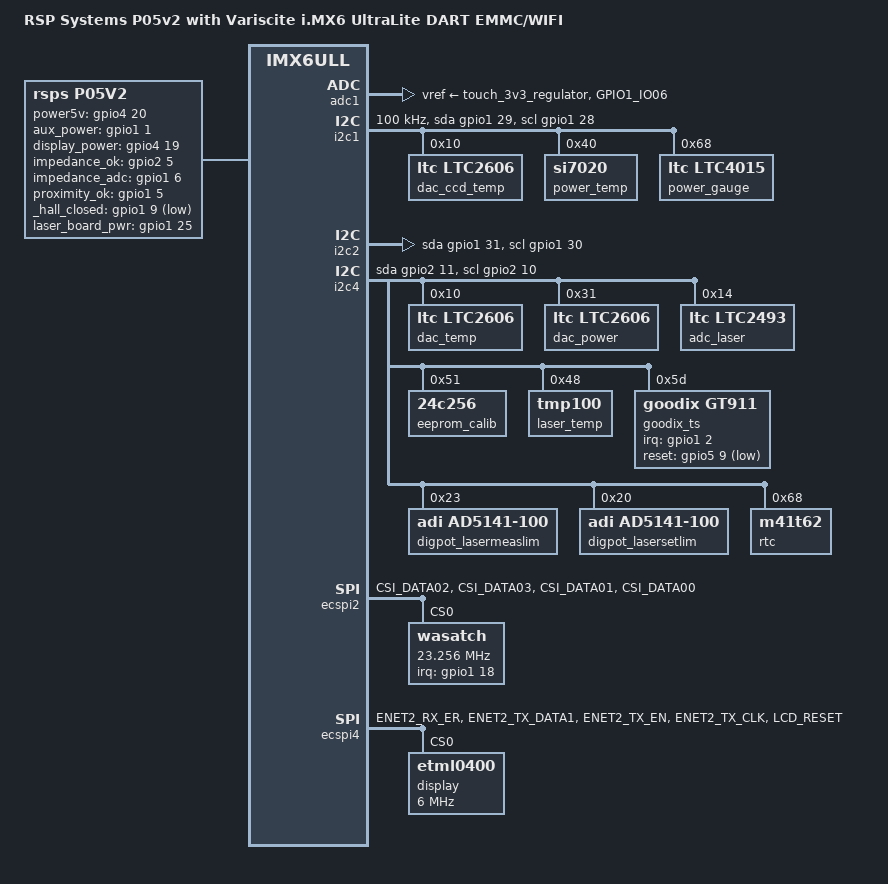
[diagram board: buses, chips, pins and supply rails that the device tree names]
/**
 * Device tree for RSP Systems Glucobeam hardware Prototype 0.5 ver. 2
 *
 */

/dts-v1/;

#include "imx6ull.dtsi"

#include "imx6ull-var-dart.dtsi"
#include "imx6ul-imx6ull-var-dart-emmc.dtsi"
#include "imx6ul-imx6ull-var-dart-wifi.dtsi"

#include "imx6ull-var-dart-6ulcustomboard.dtsi"


/ {
	model = "RSP Systems P05v2 with Variscite i.MX6 UltraLite DART EMMC/WIFI";

	p05v2 {
		compatible = "rsps,p05v2", "rsps,glucobeam", "fsl,imx6ull-var-dart", "fsl,imx6ull";
		pinctrl-names = "default";
		pinctrl-0 = <&pinctrl_imp &pinctrl_cap_sen &pinctrl_laser &pinctrl_spectrometer &pinctrl_power &pinctrl_audio>;

		status = "okay";

		power5v-gpios = <&gpio4 20 GPIO_ACTIVE_HIGH>;
		aux_power-gpios = <&gpio1 1 GPIO_ACTIVE_HIGH>;
		display_power-gpios = <&gpio4 19 GPIO_ACTIVE_HIGH>;

		impedance_ok-gpios = <&gpio2 5 GPIO_ACTIVE_HIGH>;
		impedance_adc-gpios = <&gpio1 6 GPIO_ACTIVE_HIGH>;

		proximity_ok-gpios = <&gpio1 5 GPIO_ACTIVE_HIGH>;

		_hall_closed-gpios = <&gpio1 9 GPIO_ACTIVE_LOW>;

		laser_board_pwr-gpios = <&gpio1 25 GPIO_ACTIVE_HIGH>;
		laser_on-gpios = <&gpio1 0 GPIO_ACTIVE_HIGH>;

		laser_tec_en-gpios = <&gpio1 10 GPIO_ACTIVE_HIGH>;
		laser_tec_ut-gpios = <&gpio4 15 GPIO_ACTIVE_LOW>;
		laser_tec_ot-gpios = <&gpio4 11 GPIO_ACTIVE_LOW>;
		laser_shutdown-gpios = <&gpio2 6 GPIO_ACTIVE_HIGH>;

		ccd_tec_en-gpios = <&gpio1 19 GPIO_ACTIVE_HIGH>;
		ccd_tec_ut-gpios = <&gpio4 12 GPIO_ACTIVE_LOW>;
		ccd_tec_ot-gpios = <&gpio1 4 GPIO_ACTIVE_LOW>;
		
		audio_output_en-gpios = <&gpio1 8 GPIO_ACTIVE_HIGH>;

		/* som_fpga_io-gpios =  <&gpio1 18 GPIO_ACTIVE_HIGH>; */
	};

	jtag {
		compatible = "gpio-jtag";
		pinctrl-names = "default";
		pinctrl-0 = <&pinctrl_jtag>;
		status = "okay";
	};
	
};

&adc1 {
	pinctrl-names = "default";
	pinctrl-0 = <&pinctrl_imp_adc>;
	vref-supply = <&touch_3v3_regulator>;
	num-channels = <1>;
	status = "okay";
};

&i2c1 {
	clock-frequency = <100000>;
	pinctrl-names = "default", "gpio";
	pinctrl-0 = <&pinctrl_i2c1>;
	pinctrl-1 = <&pinctrl_i2c1>;
	status = "okay";
	scl-gpios = <&gpio1 28 GPIO_ACTIVE_HIGH>;
	sda-gpios = <&gpio1 29 GPIO_ACTIVE_HIGH>;

	dac_ccd_temp: ltc2606@10 {
		compatible = "ltc,ltc2606";
		reg = <0x10>;
	};

	power_temp: tmp100@40 {
		compatible = "si7020";
		reg = <0x40>;
	};

	power_gauge: ltc4015@68 {
		compatible = "ltc,ltc4015";
		reg = <0x68>;
		ltc,r_sense = <13>;
		ltc,capacity = <2500>;
		ltc,r_bias = <10000>;
	};
};

&i2c2 {
	pinctrl-names = "default", "gpio";
	pinctrl-0 = <&pinctrl_i2c2>;
	pinctrl-1 = <&pinctrl_i2c2>;
	scl-gpios = <&gpio1 30 GPIO_ACTIVE_HIGH>;
	sda-gpios = <&gpio1 31 GPIO_ACTIVE_HIGH>;
};

&i2c4 {
	clock_frequency = <100000>;
	pinctrl-names = "default", "gpio";
	pinctrl-0 = <&pinctrl_i2c4>;
	pinctrl-1 = <&pinctrl_i2c4>;
	status = "okay";
	scl-gpios = <&gpio2 10 GPIO_ACTIVE_HIGH>;
	sda-gpios = <&gpio2 11 GPIO_ACTIVE_HIGH>;

	dac_temp: ltc2606@10 {
		compatible = "ltc,ltc2606";
		reg = <0x10>;
	};

	dac_power: ltc2606@31 {
		compatible = "ltc,ltc2606";
		reg = <0x31>;
	};

	adc_laser: ltc2493@14 {
		compatible = "ltc,ltc2493";
		reg = <0x14>;
	};

	eeprom_calib: at24c256c@51 {
		compatible = "24c256";
		reg = <0x51>;
		pagesize = <64>;
	};

	laser_temp: tmp100@48 {
		compatible = "tmp100";
		reg = <0x48>;
	};

	goodix_ts@5d {
		compatible = "goodix,gt911";
		reg = <0x5d>;
		pinctrl-names = "default";
		pinctrl-0 = <&pinctrl_touch>;
		interrupt-parent = <&gpio1>;
		interrupts = <2 0>;
		touchscreen-size-x = <800>;
		touchscreen-size-y = <480>;
		irq-gpios = <&gpio1 2 0>;
		reset-gpios = <&gpio5 9 1>;
	};

	digpot_lasermeaslim@23 {
		compatible = "adi,ad5141-100";
		reg = <0x23>;
		status = "okay";
	};

	digpot_lasersetlim@20 {
		compatible = "adi,ad5141-100";
		reg = <0x20>;
		status = "okay";
	};
	
	rtc@68 {
		compatible = "m41t62";
		reg = <0x68>;
		status = "okay";
	};
};

/*
&wdog1 {
	/delete-property/ pinctrl-names;
	/delete-property/ pinctrl-0;
	/delete-property/ fsl,ext-reset-output;
};
*/

&ecspi2 {
	fsl,spi-num-chipselects = <1>;
	pinctrl-names = "default";
	pinctrl-0 = <&pinctrl_spi2>;

	status = "okay";

	wasatch@0 {
        compatible = "wasatch";
        spi-max-frequency = <23255813>;
        reg = <0>;
        interrupt-parent = <&gpio1>;
        interrupts = <18 IRQ_TYPE_EDGE_RISING>;
    };
};

&ecspi4 {
	fsl,spi-num-chipselects = <1>;
	pinctrl-names = "default";
	pinctrl-0 = <&pinctrl_spi4 &pinctrl_display>;
	status = "okay";

	display@0 {
        compatible = "etml0400";
        spi-max-frequency = <6000000>;
        reg = <0>;
    };

};

&iomuxc {
	imx6ul-evk {

/*
CONFIG bits definition:
PAD_CTL_HYS						(1 << 16) 0x10000 *
PAD_CTL_PUS_100K_DOWN			(0 << 14) 0x00000 *
PAD_CTL_PUS_47K_UP				(1 << 14) 0x04000
PAD_CTL_PUS_100K_UP				(2 << 14) 0x08000
PAD_CTL_PUS_22K_UP				(3 << 14) 0x0c000
PAD_CTL_PUE						(1 << 13) 0x02000  Pull Keeper select field: 1 = PUS resistors, 0 = Keeper
PAD_CTL_PKE						(1 << 12) 0x01000  1 = Pull/Keeper enabled
PAD_CTL_ODE						(1 << 11) 0x00800  1 = Open Drain Enabled
PAD_CTL_SPEED_LOW				(0 << 6)  0x00000
PAD_CTL_SPEED_MED				(1 << 6)  0x00040
PAD_CTL_SPEED_MED				(2 << 6)  0x00080 *
PAD_CTL_SPEED_HIGH				(3 << 6)  0x000c0
PAD_CTL_DSE_DISABLE				(0 << 3)  0x00000
PAD_CTL_DSE_240ohm				(1 << 3)  0x00008
PAD_CTL_DSE_120ohm				(2 << 3)  0x00010
PAD_CTL_DSE_80ohm				(3 << 3)  0x00018
PAD_CTL_DSE_60ohm				(4 << 3)  0x00020
PAD_CTL_DSE_48ohm				(5 << 3)  0x00028
PAD_CTL_DSE_40ohm				(6 << 3)  0x00030 *
PAD_CTL_DSE_34ohm				(7 << 3)  0x00038
PAD_CTL_SRE_FAST				(1 << 0)  0x00001 *
PAD_CTL_SRE_SLOW				(0 << 0)  0x00000

Eg. MX6UL_PAD_GPIO1_IO00__GPIO1_IO00	  0x17059 // User Button
*/

		pinctrl_spi2: ecspi2grp {
			fsl,pins = <
				MX6UL_PAD_CSI_DATA02__ECSPI2_MOSI	0x100b1
				MX6UL_PAD_CSI_DATA03__ECSPI2_MISO	0x100b1
				MX6UL_PAD_CSI_DATA01__ECSPI2_SS0	0x100b1
				MX6UL_PAD_CSI_DATA00__ECSPI2_SCLK	0x100b1
			>;
		};

		pinctrl_spi4: ecspi4grp {
			fsl,pins = <
				MX6UL_PAD_ENET2_RX_ER__ECSPI4_SS0		0x100b1
				MX6UL_PAD_ENET2_TX_DATA1__ECSPI4_SCLK	0x100b1
				MX6UL_PAD_ENET2_TX_EN__ECSPI4_MOSI		0x100b1
				MX6UL_PAD_ENET2_TX_CLK__ECSPI4_MISO		0x100b1
			>;
		};

		pinctrl_display: pinctrl_reset {
			fsl,pins = <
				MX6UL_PAD_LCD_RESET__GPIO3_IO04			0xb008
			>;
		};

		pinctrl_imp: skin_imp_ok {
			fsl,pins = <
				MX6UL_PAD_ENET1_TX_EN__GPIO2_IO05   0x10000 /* IMP_OK (HYS) */
			>;
		};
		pinctrl_imp_adc: skin_imp_value {
			fsl,pins = <
				MX6UL_PAD_GPIO1_IO06__GPIO1_IO06	0x0 /* SKIN_IMP (ADC1_IN6) */
			>;
		};


		pinctrl_cap_sen: cap_handling {
			fsl,pins = <
				MX6UL_PAD_GPIO1_IO05__GPIO1_IO05	0x13000 /* PROX_OK_BUFF (HYS, 100K pull down) */
			>;
		};

		pinctrl_laser: laser_handling {
			fsl,pins = <
				MX6UL_PAD_JTAG_MOD__GPIO1_IO10		0x88	/* LASER_TEC_EN (Medium speed, 240 ohm drive strength) */
				MX6UL_PAD_UART3_RX_DATA__GPIO1_IO25	0x88	/* LASER_BRD_PWR_ON (Medium speed, 240 ohm drive strength) */
				MX6UL_PAD_GPIO1_IO00__GPIO1_IO00	0x88	/* LASER_ON (Medium speed, 240 ohm drive strength) */
				MX6UL_PAD_NAND_CLE__GPIO4_IO15		0x1b080 /* _LASER_TEC_UT (HYS, 100K pull up, Medium speed) */
				MX6UL_PAD_NAND_WP_B__GPIO4_IO11		0x1b080 /* _LASER_TEC_OT (HYS, 100K pull up, Medium speed) */
				MX6UL_PAD_GPIO1_IO09__GPIO1_IO09	0x10000 /* _HALL_BUF (HYS) */
				MX6UL_PAD_ENET1_TX_CLK__GPIO2_IO06	0x10000 /* _LASER_SD_BUFF (HYS) */
			>;
		};

		pinctrl_spectrometer: spectrometer_handling {
			fsl,pins = <
/*				MX6UL_PAD_UART1_CTS_B__GPIO1_IO18	0x10000 /* SOM_FPGA_IO Already used as interrupt for wasatch driver. */
				MX6UL_PAD_GPIO1_IO04__GPIO1_IO04	0x10000 /* _CCD_TEC_OT (HYS) */
				MX6UL_PAD_NAND_READY_B__GPIO4_IO12	0x10000 /* _CCD_TEC_UT (HYS) */
/*				MX6UL_PAD_SNVS_TAMPER3__GPIO5_IO03	0x88	/* OSC_32K_IN ??? */
				MX6UL_PAD_UART1_RTS_B__GPIO1_IO19	0x88    /* CCD_TEC_EN (Medium speed, 240 ohm drive strength) */
			>;
		};

		pinctrl_touch: touch_handling {
			fsl,pins = <
				MX6UL_PAD_SNVS_TAMPER9__GPIO5_IO09	0x880   /* _CAP_RST (Open drain, Medium speed) */
				MX6UL_PAD_GPIO1_IO02__GPIO1_IO02	0x1b000 /* CAP_INT (HYS, 100K pull up)*/
			>;
		};

		pinctrl_leds: indicators {
			fsl,pins = <
				MX6UL_PAD_UART3_CTS_B__GPIO1_IO26		0x8 /* LED_R */
				MX6UL_PAD_CSI_MCLK__GPIO4_IO17			0x8 /* LED_G */
				MX6UL_PAD_ENET2_RX_DATA0__GPIO2_IO08	0x8 /* LED_BUTTON_R */
				MX6UL_PAD_ENET2_RX_DATA1__GPIO2_IO09	0x8 /* LED_BUTTON_G */
				MX6UL_PAD_NAND_CE1_B__GPIO4_IO14		0x8 /* LED_BUTTON_B */
			>;
		};

		pinctrl_jtag: jtag {
			fsl,pins = <
				/* pinControl for JTAG for FPGA programming */
				MX6UL_PAD_ENET1_RX_EN__GPIO2_IO02	  0x08 /* TMS_SOM */
				MX6UL_PAD_ENET1_RX_ER__GPIO2_IO07	  0x08 /* TDO_SOM */
				MX6UL_PAD_ENET1_TX_DATA0__GPIO2_IO03   0x08 /* TCK_SOM */
				MX6UL_PAD_ENET1_TX_DATA1__GPIO2_IO04   0x08 /* TDI_SOM */
			>;
		};

		pinctrl_power: power {
			fsl,pins = <
				MX6UL_PAD_CSI_HSYNC__GPIO4_IO20				0xF008 /* 5V_ENABLE (22K pull up, 240 ohm drive strength, Slow SR) */
				MX6UL_PAD_GPIO1_IO01__GPIO1_IO01			0x0008 /* AUX_PWR_EN (240 ohm drive strength, Slow SR) */
				MX6UL_PAD_CSI_VSYNC__GPIO4_IO19				0x0008 /* 3V3_DISPLAY_EN (240 ohm drive strength, Slow SR) */
			>;
		};

		pinctrl_charger: charger {
			fsl,pins = <
				MX6UL_PAD_ENET1_RX_DATA0__GPIO2_IO00	 0x1b000 /* _SMBALERT (HYS, 100K pull up) */
			>;
		};

		pinctrl_audio: audio {
			fsl,pins = <
				MX6UL_PAD_GPIO1_IO08__GPIO1_IO08	0x88 /* SPEAKER_ENABLE (Medium speed, 240 ohm drive strength) */
			>;
		};
	};
};

&sai1 {
	assigned-clocks = <&clks IMX6UL_CLK_SAI1_SEL>,
			<&clks IMX6UL_CLK_SAI1>;
	assigned-clock-parents = <&clks IMX6UL_CLK_PLL4_AUDIO_DIV>;
	assigned-clock-rates = <0>, <24576000>;
	status = "disabled";
};



